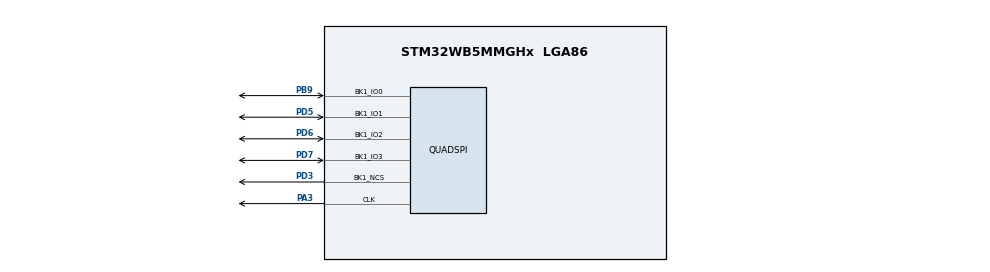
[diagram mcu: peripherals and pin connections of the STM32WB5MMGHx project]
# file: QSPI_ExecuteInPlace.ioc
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Dma.QUADSPI.0.Direction=DMA_PERIPH_TO_MEMORY
Dma.QUADSPI.0.EventEnable=DISABLE
Dma.QUADSPI.0.Instance=DMA1_Channel1
Dma.QUADSPI.0.MemDataAlignment=DMA_MDATAALIGN_BYTE
Dma.QUADSPI.0.MemInc=DMA_MINC_ENABLE
Dma.QUADSPI.0.Mode=DMA_NORMAL
Dma.QUADSPI.0.PeriphDataAlignment=DMA_PDATAALIGN_BYTE
Dma.QUADSPI.0.PeriphInc=DMA_PINC_DISABLE
Dma.QUADSPI.0.Polarity=HAL_DMAMUX_REQ_GEN_RISING
Dma.QUADSPI.0.Priority=DMA_PRIORITY_LOW
Dma.QUADSPI.0.RequestNumber=1
Dma.QUADSPI.0.SignalID=NONE
Dma.QUADSPI.0.SyncEnable=DISABLE
Dma.QUADSPI.0.SyncPolarity=HAL_DMAMUX_SYNC_NO_EVENT
Dma.QUADSPI.0.SyncRequestNumber=1
Dma.QUADSPI.0.SyncSignalID=NONE
Dma.Request0=QUADSPI
Mcu.Family=STM32WB
Mcu.Name=STM32WB5MMGHx
Mcu.Package=LGA86
NVIC.DMA1_Channel1_IRQn=true\:0\:0\:false\:false\:true\:false\:true\:true
NVIC.PriorityGroup=NVIC_PRIORITYGROUP_4
NVIC.QUADSPI_IRQn=true\:0\:0\:false\:false\:true\:true\:true\:true
PA3.GPIO_Speed=GPIO_SPEED_FREQ_HIGH
PA3.Mode=Single Bank 1
PA3.Signal=QUADSPI_CLK
PB9.GPIO_Speed=GPIO_SPEED_FREQ_HIGH
PB9.Mode=Single Bank 1
PB9.Signal=QUADSPI_BK1_IO0
PD3.GPIO_Speed=GPIO_SPEED_FREQ_HIGH
PD3.Mode=Single Bank 1
PD3.Signal=QUADSPI_BK1_NCS
PD5.GPIO_Speed=GPIO_SPEED_FREQ_HIGH
PD5.Mode=Single Bank 1
PD5.Signal=QUADSPI_BK1_IO1
PD6.GPIO_Speed=GPIO_SPEED_FREQ_HIGH
PD6.Mode=Single Bank 1
PD6.Signal=QUADSPI_BK1_IO2
PD7.GPIO_Speed=GPIO_SPEED_FREQ_HIGH
PD7.Mode=Single Bank 1
PD7.Signal=QUADSPI_BK1_IO3
ProjectManager.HeapSize=0x200
ProjectManager.StackSize=0x400
ProjectManager.TargetToolchain=EWARM V8
QUADSPI.ClockPrescaler=2
QUADSPI.FifoThreshold=4
QUADSPI.FlashSize=23
RCC.AHB2CLKDivider=RCC_SYSCLK_DIV2
RCC.AHBFreq_Value=64000000
RCC.APB1Freq_Value=64000000
RCC.APB1TimFreq_Value=64000000
RCC.APB2Freq_Value=64000000
RCC.APB2TimFreq_Value=64000000
RCC.APB3Freq_Value=16000000
RCC.Cortex2_Div=SYSTICK_CLKSOURCE_HCLK_DIV8
RCC.CortexFreq_Value=64000000
RCC.HCLKFreq_Value=64000000
RCC.HSE_VALUE=32000000
RCC.HSI48_VALUE=48000000
RCC.HSI_VALUE=16000000
RCC.PLLN=32
RCC.SYSCLKFreq_VALUE=64000000
RCC.SYSCLKSource=RCC_SYSCLKSOURCE_PLLCLK
RCC.VCOOutputFreq_Value=128000000
board=custom

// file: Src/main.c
/* USER CODE BEGIN Header */
/**
  ******************************************************************************
  * @file    QSPI/QSPI_ExecuteInPlace/Src/main.c
  * @author  MCD Application Team
  * @brief   This sample code shows how to erase part of the QSPI memory, write
  *          data in DMA mode and access to QSPI memory in memory-mapped mode.
  ******************************************************************************
  * @attention
  *
  * Copyright (c) 2020-2021 STMicroelectronics.
  * All rights reserved.
  *
  * This software is licensed under terms that can be found in the LICENSE file
  * in the root directory of this software component.
  * If no LICENSE file comes with this software, it is provided AS-IS.
  *
  ******************************************************************************
  */
/* USER CODE END Header */
#include "main.h"

QSPI_HandleTypeDef hqspi;
DMA_HandleTypeDef hdma_quadspi;

/* USER CODE BEGIN PV */
aPwmLedGsData_TypeDef aPwmLedGsData;

#if defined (__CC_ARM) || defined (__ARMCC_VERSION)
extern uint32_t Load$$QSPI$$Base;
extern uint32_t Load$$QSPI$$Length;
#elif defined(__ICCARM__)
#pragma section =".qspi"
#pragma section =".qspi_init"
#elif defined(__GNUC__)
extern uint32_t _qspi_init_base;
extern uint32_t _qspi_init_length;
#endif

__IO uint8_t CmdCplt, RxCplt, TxCplt, StatusMatch;
/* USER CODE END PV */

void SystemClock_Config(void);
void PeriphCommonClock_Config(void);
static void MX_GPIO_Init(void);
static void MX_DMA_Init(void);
static void MX_QUADSPI_Init(void);
/* USER CODE BEGIN PFP */
static void QSPI_WriteEnable(QSPI_HandleTypeDef *hqspi);
static void QSPI_AutoPollingMemReady(QSPI_HandleTypeDef *hqspi);
static void GpioToggle(void);
/* USER CODE END PFP */

int main(void)
{
  /* USER CODE BEGIN 1 */
  QSPI_CommandTypeDef      sCommand;
  QSPI_MemoryMappedTypeDef sMemMappedCfg;
  __IO uint32_t qspi_addr = 0;
  uint8_t *flash_addr = 0;
  __IO uint8_t step = 0;
  uint32_t max_size = 0, size = 0;

  /* STM32WBxx HAL library initialization:
       - Configure the Flash prefetch
       - Systick timer is configured by default as source of time base, but user
         can eventually implement his proper time base source (a general purpose
         timer for example or other time source), keeping in mind that Time base
         duration should be kept 1ms since PPP_TIMEOUT_VALUEs are defined and
         handled in milliseconds basis.
       - Set NVIC Group Priority to 4
       - Low Level Initialization
  */
  /* USER CODE END 1 */

  /* MCU Configuration--------------------------------------------------------*/

  /* Reset of all peripherals, Initializes the Flash interface and the Systick. */
  HAL_Init();

  /* Configure the system clock */
  SystemClock_Config();

/* Configure the peripherals common clocks */
  PeriphCommonClock_Config();

  /* USER CODE BEGIN SysInit */
  /* Set default off value for each leds */
  aPwmLedGsData[PWM_LED_RED]   = PWM_LED_GSDATA_OFF;
  aPwmLedGsData[PWM_LED_GREEN] = PWM_LED_GSDATA_OFF;
  aPwmLedGsData[PWM_LED_BLUE]  = PWM_LED_GSDATA_OFF;
  BSP_PWM_LED_Init();
  /* USER CODE END SysInit */

  /* Initialize all configured peripherals */
  MX_GPIO_Init();
  MX_DMA_Init();
  MX_QUADSPI_Init();
  /* USER CODE BEGIN 2 */
  /* Initialize QSPI commande structure */
  sCommand.InstructionMode   = QSPI_INSTRUCTION_1_LINE;
  sCommand.AddressSize       = QSPI_ADDRESS_24_BITS;
  sCommand.AlternateByteMode = QSPI_ALTERNATE_BYTES_NONE;
  sCommand.DdrMode           = QSPI_DDR_MODE_DISABLE;
  sCommand.SIOOMode          = QSPI_SIOO_INST_EVERY_CMD;

#if defined (__CC_ARM) || defined (__ARMCC_VERSION)
  max_size = (uint32_t)(&Load$$QSPI$$Length);
#elif defined(__ICCARM__)
  max_size = __section_size(".qspi_init");
#elif defined(__GNUC__)
  max_size = (uint32_t)((uint8_t *)(&_qspi_init_length));
#endif
  /* USER CODE END 2 */

  /* Infinite loop */
  /* USER CODE BEGIN WHILE */
  while (1)
  {
    switch(step)
    {
      case 0:
        CmdCplt = 0;

        /* Enable write operations ------------------------------------------- */
        QSPI_WriteEnable(&hqspi);

        /* Erasing Sequence -------------------------------------------------- */
        sCommand.Instruction = SECTOR_ERASE_CMD;
        sCommand.AddressMode = QSPI_ADDRESS_1_LINE;
        sCommand.Address     = qspi_addr;
        sCommand.DataMode    = QSPI_DATA_NONE;
        sCommand.DummyCycles = 0;

        if (HAL_QSPI_Command_IT(&hqspi, &sCommand) != HAL_OK)
        {
          Error_Handler();
        }

        step++;
        break;

      case 1:
        if(CmdCplt != 0)
        {
          CmdCplt = 0;
          StatusMatch = 0;

          /* Configure automatic polling mode to wait for end of erase ------- */
          QSPI_AutoPollingMemReady(&hqspi);

#if defined (__CC_ARM) || defined (__ARMCC_VERSION)
          flash_addr = (uint8_t *)(&Load$$QSPI$$Base);
#elif defined(__ICCARM__)
          flash_addr = (uint8_t *)(__section_begin(".qspi_init"));
#elif defined(__GNUC__)
          flash_addr = (uint8_t *)(&_qspi_init_base);
#endif

          /* Copy only one page if the section is bigger */
          if (max_size > QSPI_PAGE_SIZE)
          {
            size = QSPI_PAGE_SIZE;
          }
          else
          {
            size = max_size;
          }

          step++;
        }
        break;

      case 2:
        if(StatusMatch != 0)
        {
          StatusMatch = 0;
          TxCplt = 0;

          /* Enable write operations ----------------------------------------- */
          QSPI_WriteEnable(&hqspi);

          /* Writing Sequence ------------------------------------------------ */
          sCommand.Instruction = QUAD_IN_FAST_PROG_CMD;
          sCommand.AddressMode = QSPI_ADDRESS_1_LINE;
          sCommand.Address     = qspi_addr;
          sCommand.DataMode    = QSPI_DATA_4_LINES;
          sCommand.NbData      = size;

          if (HAL_QSPI_Command(&hqspi, &sCommand, HAL_QSPI_TIMEOUT_DEFAULT_VALUE) != HAL_OK)
          {
            Error_Handler();
          }

          if (HAL_QSPI_Transmit_DMA(&hqspi, flash_addr) != HAL_OK)
          {
            Error_Handler();
          }

          step++;
        }
        break;

      case 3:
        if(TxCplt != 0)
        {
          TxCplt = 0;
          StatusMatch = 0;

          /* Configure automatic polling mode to wait for end of program ----- */
          QSPI_AutoPollingMemReady(&hqspi);

          step++;
        }
        break;

      case 4:
        if(StatusMatch != 0)
        {
          qspi_addr += size;
          flash_addr += size;

          /* Check if a new page writing is needed */
          if (qspi_addr < max_size)
          {
            /* Update the remaining size if it is less than the page size */
            if ((qspi_addr + size) > max_size)
            {
              size = (max_size - qspi_addr);
            }
            step = 2;
          }
          else
          {
            StatusMatch = 0;
            RxCplt = 0;

            /* Reading Sequence ------------------------------------------------ */
            sCommand.Instruction = QUAD_OUT_FAST_READ_CMD;
            sCommand.DummyCycles = DUMMY_CLOCK_CYCLES_READ;

            sMemMappedCfg.TimeOutActivation = QSPI_TIMEOUT_COUNTER_DISABLE;

            if (HAL_QSPI_MemoryMapped(&hqspi, &sCommand, &sMemMappedCfg) != HAL_OK)
            {
              Error_Handler();
            }

            step++;
          }
        }
        break;

      case 5:
        /* Execute the code from QSPI memory ------------------------------- */
        GpioToggle();
        break;

      default :
        Error_Handler();
    }
    /* USER CODE END WHILE */

  }
}

void SystemClock_Config(void)
{
  RCC_OscInitTypeDef RCC_OscInitStruct = {0};
  RCC_ClkInitTypeDef RCC_ClkInitStruct = {0};

  /** Configure the main internal regulator output voltage
  */
  __HAL_PWR_VOLTAGESCALING_CONFIG(PWR_REGULATOR_VOLTAGE_SCALE1);

  /** Initializes the RCC Oscillators according to the specified parameters
  * in the RCC_OscInitTypeDef structure.
  */
  RCC_OscInitStruct.OscillatorType = RCC_OSCILLATORTYPE_HSI|RCC_OSCILLATORTYPE_MSI;
  RCC_OscInitStruct.HSIState = RCC_HSI_ON;
  RCC_OscInitStruct.MSIState = RCC_MSI_ON;
  RCC_OscInitStruct.HSICalibrationValue = RCC_HSICALIBRATION_DEFAULT;
  RCC_OscInitStruct.MSICalibrationValue = RCC_MSICALIBRATION_DEFAULT;
  RCC_OscInitStruct.MSIClockRange = RCC_MSIRANGE_6;
  RCC_OscInitStruct.PLL.PLLState = RCC_PLL_ON;
  RCC_OscInitStruct.PLL.PLLSource = RCC_PLLSOURCE_MSI;
  RCC_OscInitStruct.PLL.PLLM = RCC_PLLM_DIV1;
  RCC_OscInitStruct.PLL.PLLN = 32;
  RCC_OscInitStruct.PLL.PLLP = RCC_PLLP_DIV2;
  RCC_OscInitStruct.PLL.PLLR = RCC_PLLR_DIV2;
  RCC_OscInitStruct.PLL.PLLQ = RCC_PLLQ_DIV2;
  if (HAL_RCC_OscConfig(&RCC_OscInitStruct) != HAL_OK)
  {
    Error_Handler();
  }

  /** Configure the SYSCLKSource, HCLK, PCLK1 and PCLK2 clocks dividers
  */
  RCC_ClkInitStruct.ClockType = RCC_CLOCKTYPE_HCLK4|RCC_CLOCKTYPE_HCLK2
                              |RCC_CLOCKTYPE_HCLK|RCC_CLOCKTYPE_SYSCLK
                              |RCC_CLOCKTYPE_PCLK1|RCC_CLOCKTYPE_PCLK2;
  RCC_ClkInitStruct.SYSCLKSource = RCC_SYSCLKSOURCE_PLLCLK;
  RCC_ClkInitStruct.AHBCLKDivider = RCC_SYSCLK_DIV1;
  RCC_ClkInitStruct.APB1CLKDivider = RCC_HCLK_DIV1;
  RCC_ClkInitStruct.APB2CLKDivider = RCC_HCLK_DIV1;
  RCC_ClkInitStruct.AHBCLK2Divider = RCC_SYSCLK_DIV2;
  RCC_ClkInitStruct.AHBCLK4Divider = RCC_SYSCLK_DIV1;

  if (HAL_RCC_ClockConfig(&RCC_ClkInitStruct, FLASH_LATENCY_3) != HAL_OK)
  {
    Error_Handler();
  }
}

void PeriphCommonClock_Config(void)
{
  RCC_PeriphCLKInitTypeDef PeriphClkInitStruct = {0};

  /** Initializes the peripherals clock
  */
  PeriphClkInitStruct.PeriphClockSelection = RCC_PERIPHCLK_SMPS;
  PeriphClkInitStruct.SmpsClockSelection = RCC_SMPSCLKSOURCE_HSI;
  PeriphClkInitStruct.SmpsDivSelection = RCC_SMPSCLKDIV_RANGE1;

  if (HAL_RCCEx_PeriphCLKConfig(&PeriphClkInitStruct) != HAL_OK)
  {
    Error_Handler();
  }
}

static void MX_QUADSPI_Init(void)
{

  /* QUADSPI parameter configuration*/
  hqspi.Instance = QUADSPI;
  hqspi.Init.ClockPrescaler = 2;
  hqspi.Init.FifoThreshold = 4;
  hqspi.Init.SampleShifting = QSPI_SAMPLE_SHIFTING_NONE;
  hqspi.Init.FlashSize = 23;
  hqspi.Init.ChipSelectHighTime = QSPI_CS_HIGH_TIME_1_CYCLE;
  hqspi.Init.ClockMode = QSPI_CLOCK_MODE_0;
  if (HAL_QSPI_Init(&hqspi) != HAL_OK)
  {
    Error_Handler();
  }

}

static void MX_DMA_Init(void)
{

  /* DMA controller clock enable */
  __HAL_RCC_DMAMUX1_CLK_ENABLE();
  __HAL_RCC_DMA1_CLK_ENABLE();

  /* DMA interrupt init */
  /* DMA1_Channel1_IRQn interrupt configuration */
  HAL_NVIC_SetPriority(DMA1_Channel1_IRQn, 0, 0);
  HAL_NVIC_EnableIRQ(DMA1_Channel1_IRQn);

}

static void MX_GPIO_Init(void)
{

  /* GPIO Ports Clock Enable */
  __HAL_RCC_GPIOB_CLK_ENABLE();
  __HAL_RCC_GPIOA_CLK_ENABLE();
  __HAL_RCC_GPIOD_CLK_ENABLE();

}

/* USER CODE BEGIN 4 */
/**
  * @brief  Command completed callbacks.
  * @param  hqspi QSPI handle
  * @retval None
  */
void HAL_QSPI_CmdCpltCallback(QSPI_HandleTypeDef *hqspi)
{
  CmdCplt++;
}

/**
  * @brief  Rx Transfer completed callbacks.
  * @param  hqspi QSPI handle
  * @retval None
  */
void HAL_QSPI_RxCpltCallback(QSPI_HandleTypeDef *hqspi)
{
  RxCplt++;
}

/**
  * @brief  Tx Transfer completed callbacks.
  * @param  hqspi QSPI handle
  * @retval None
  */
void HAL_QSPI_TxCpltCallback(QSPI_HandleTypeDef *hqspi)
{
  TxCplt++;
}

/**
  * @brief  Status Match callbacks
  * @param  hqspi QSPI handle
  * @retval None
  */
void HAL_QSPI_StatusMatchCallback(QSPI_HandleTypeDef *hqspi)
{
  StatusMatch++;
}

/**
  * @brief  This function send a Write Enable and wait it is effective.
  * @param  hqspi QSPI handle
  * @retval None
  */
static void QSPI_WriteEnable(QSPI_HandleTypeDef *hqspi)
{
  QSPI_CommandTypeDef     sCommand;
  QSPI_AutoPollingTypeDef sConfig;

  /* Enable write operations ------------------------------------------ */
  sCommand.InstructionMode   = QSPI_INSTRUCTION_1_LINE;
  sCommand.Instruction       = WRITE_ENABLE_CMD;
  sCommand.AddressMode       = QSPI_ADDRESS_NONE;
  sCommand.AlternateByteMode = QSPI_ALTERNATE_BYTES_NONE;
  sCommand.DataMode          = QSPI_DATA_NONE;
  sCommand.DummyCycles       = 0;
  sCommand.DdrMode           = QSPI_DDR_MODE_DISABLE;
  sCommand.SIOOMode          = QSPI_SIOO_INST_EVERY_CMD;

  if (HAL_QSPI_Command(hqspi, &sCommand, HAL_QSPI_TIMEOUT_DEFAULT_VALUE) != HAL_OK)
  {
    Error_Handler();
  }

  /* Configure automatic polling mode to wait for write enabling ---- */
  sConfig.Match           = 0x02;
  sConfig.Mask            = 0x02;
  sConfig.MatchMode       = QSPI_MATCH_MODE_AND;
  sConfig.StatusBytesSize = 1;
  sConfig.Interval        = 0x10;
  sConfig.AutomaticStop   = QSPI_AUTOMATIC_STOP_ENABLE;

  sCommand.Instruction    = READ_STATUS_REG_CMD;
  sCommand.DataMode       = QSPI_DATA_1_LINE;

  if (HAL_QSPI_AutoPolling(hqspi, &sCommand, &sConfig, HAL_QSPI_TIMEOUT_DEFAULT_VALUE) != HAL_OK)
  {
    Error_Handler();
  }
}

/**
  * @brief  This function read the SR of the memory and wait the EOP.
  * @param  hqspi QSPI handle
  * @retval None
  */
static void QSPI_AutoPollingMemReady(QSPI_HandleTypeDef *hqspi)
{
  QSPI_CommandTypeDef     sCommand;
  QSPI_AutoPollingTypeDef sConfig;

  /* Configure automatic polling mode to wait for memory ready ------ */
  sCommand.InstructionMode   = QSPI_INSTRUCTION_1_LINE;
  sCommand.Instruction       = READ_STATUS_REG_CMD;
  sCommand.AddressMode       = QSPI_ADDRESS_NONE;
  sCommand.AlternateByteMode = QSPI_ALTERNATE_BYTES_NONE;
  sCommand.DataMode          = QSPI_DATA_1_LINE;
  sCommand.DummyCycles       = 0;
  sCommand.DdrMode           = QSPI_DDR_MODE_DISABLE;
  sCommand.SIOOMode          = QSPI_SIOO_INST_EVERY_CMD;

  sConfig.Match           = MEMORY_READY_MATCH_VALUE;
  sConfig.Mask            = MEMORY_READY_MASK_VALUE;
  sConfig.MatchMode       = QSPI_MATCH_MODE_AND;
  sConfig.StatusBytesSize = 1;
  sConfig.Interval        = 0x10;
  sConfig.AutomaticStop   = QSPI_AUTOMATIC_STOP_ENABLE;

  if (HAL_QSPI_AutoPolling_IT(hqspi, &sCommand, &sConfig) != HAL_OK)
  {
    Error_Handler();
  }
}

/**
  * @brief  Toggle the GPIOs
  * @param  None
  * @retval None
  */
#if defined (__CC_ARM) || defined (__ARMCC_VERSION)
__attribute__((section(".qspi")))
__attribute__((noinline))
static void GpioToggle(void)
#elif defined(__ICCARM__)
static void GpioToggle(void) @ ".qspi"
#elif defined(__GNUC__)
static void __attribute__((section(".qspi"), noinline)) GpioToggle(void)
#endif
{
  aPwmLedGsData[PWM_LED_RED] = PWM_LED_GSDATA_7_0;
  BSP_PWM_LED_On(aPwmLedGsData);
  /* Insert delay 100 ms */
  HAL_Delay(100);
  aPwmLedGsData[PWM_LED_GREEN] = PWM_LED_GSDATA_7_0;
  BSP_PWM_LED_On(aPwmLedGsData);
  /* Insert delay 100 ms */
  HAL_Delay(100);
  aPwmLedGsData[PWM_LED_BLUE] = PWM_LED_GSDATA_7_0;
  BSP_PWM_LED_On(aPwmLedGsData);
  /* Insert delay 100 ms */
  HAL_Delay(100);
  aPwmLedGsData[PWM_LED_RED] = PWM_LED_GSDATA_OFF;
  BSP_PWM_LED_On(aPwmLedGsData);
  /* Insert delay 100 ms */
  HAL_Delay(100);
  aPwmLedGsData[PWM_LED_GREEN] = PWM_LED_GSDATA_OFF;
  BSP_PWM_LED_On(aPwmLedGsData);
  /* Insert delay 100 ms */
  HAL_Delay(100);
  aPwmLedGsData[PWM_LED_BLUE] = PWM_LED_GSDATA_OFF;
  BSP_PWM_LED_On(aPwmLedGsData);
  /* Insert delay 100 ms */
  HAL_Delay(100);
}

/* USER CODE END 4 */

void Error_Handler(void)
{
  /* USER CODE BEGIN Error_Handler_Debug */
  /* User can add his own implementation to report the HAL error return state */
  while (1)
  {
    HAL_Delay(100);
    aPwmLedGsData[PWM_LED_RED] = PWM_LED_GSDATA_7_0;
    BSP_PWM_LED_Toggle(aPwmLedGsData);
  }
  /* USER CODE END Error_Handler_Debug */
}
